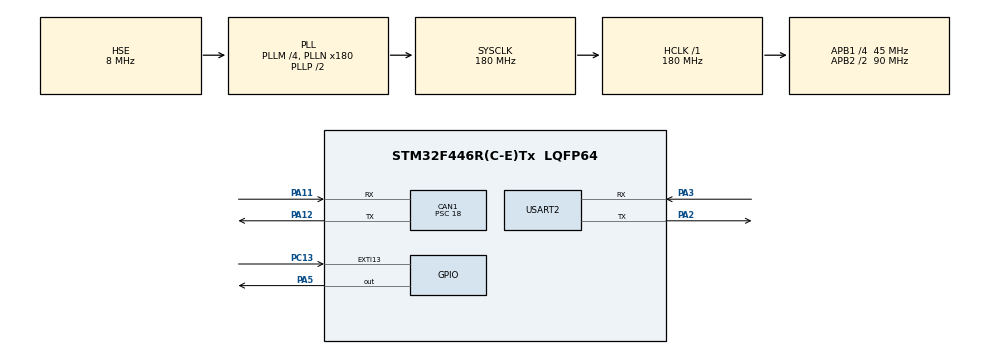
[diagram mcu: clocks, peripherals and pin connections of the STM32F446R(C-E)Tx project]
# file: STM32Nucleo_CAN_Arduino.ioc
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CAN1.BS1=CAN_BS1_2TQ
CAN1.BS2=CAN_BS2_2TQ
CAN1.CalculateBaudRate=500000
CAN1.CalculateTimeBit=2000
CAN1.CalculateTimeQuantum=400.0
CAN1.Prescaler=18
Mcu.Family=STM32F4
Mcu.Name=STM32F446R(C-E)Tx
Mcu.Package=LQFP64
NVIC.CAN1_RX0_IRQn=true\:0\:0\:false\:false\:true\:true\:true\:true
NVIC.CAN1_TX_IRQn=true\:0\:0\:false\:false\:true\:true\:true\:true
NVIC.EXTI15_10_IRQn=true\:0\:0\:false\:false\:true\:true\:true\:true
NVIC.PriorityGroup=NVIC_PRIORITYGROUP_4
PA11.Mode=CAN_Activate
PA11.Signal=CAN1_RX
PA12.Mode=CAN_Activate
PA12.Signal=CAN1_TX
PA2.Mode=Asynchronous
PA2.Signal=USART2_TX
PA3.Mode=Asynchronous
PA3.Signal=USART2_RX
PA5.Signal=GPIO_Output
PC13.Signal=GPXTI13
PH0-OSC_IN.Mode=HSE-External-Oscillator
PH0-OSC_IN.Signal=RCC_OSC_IN
PH1-OSC_OUT.Mode=HSE-External-Oscillator
PH1-OSC_OUT.Signal=RCC_OSC_OUT
ProjectManager.HeapSize=0x200
ProjectManager.StackSize=0x400
ProjectManager.TargetToolchain=STM32CubeIDE
RCC.AHBFreq_Value=180000000
RCC.APB1CLKDivider=RCC_HCLK_DIV4
RCC.APB1Freq_Value=45000000
RCC.APB1TimFreq_Value=90000000
RCC.APB2CLKDivider=RCC_HCLK_DIV2
RCC.APB2Freq_Value=90000000
RCC.APB2TimFreq_Value=180000000
RCC.CortexFreq_Value=180000000
RCC.HCLKFreq_Value=180000000
RCC.HSE_VALUE=8000000
RCC.PLLM=4
RCC.PLLN=180
RCC.PLLSourceVirtual=RCC_PLLSOURCE_HSE
RCC.SYSCLKFreq_VALUE=180000000
RCC.SYSCLKSource=RCC_SYSCLKSOURCE_PLLCLK
RCC.USBFreq_Value=180000000
RCC.VCOOutputFreq_Value=360000000
USART2.VirtualMode=VM_ASYNC
board=custom

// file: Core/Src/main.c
/* USER CODE BEGIN Header */
/**
  ******************************************************************************
  * @file           : main.c
  * @brief          : Main program body
  ******************************************************************************
  * @attention
  *
  * Copyright (c) 2026 STMicroelectronics.
  * All rights reserved.
  *
  * This software is licensed under terms that can be found in the LICENSE file
  * in the root directory of this software component.
  * If no LICENSE file comes with this software, it is provided AS-IS.
  *
  ******************************************************************************
  */
/* USER CODE END Header */
#include "main.h"

/* USER CODE BEGIN Includes */
#include <stdio.h>
#include <stdlib.h>
#include <string.h>
#include <time.h>
#include <stdbool.h>
/* USER CODE END Includes */

CAN_HandleTypeDef hcan1;

UART_HandleTypeDef huart2;

/* USER CODE BEGIN PV */
volatile bool canTxComplete = false;
/* USER CODE END PV */

void SystemClock_Config(void);
static void MX_GPIO_Init(void);
static void MX_CAN1_Init(void);
static void MX_USART2_UART_Init(void);
/* USER CODE BEGIN PFP */
uint8_t Get_RandomData();
/* USER CODE END PFP */

/* USER CODE BEGIN 0 */

//CAN variable setup
CAN_TxHeaderTypeDef TxHeader;
CAN_RxHeaderTypeDef RxHeader;

uint8_t TxData[8];
uint8_t RxData[8];

uint32_t TxMailbox;

uint8_t intMIN = 0;
uint8_t intMAX = 254;

/* USER CODE END 0 */

int main(void)
{

  /* USER CODE BEGIN 1 */
	srand(time(NULL));
  /* USER CODE END 1 */

  /* MCU Configuration--------------------------------------------------------*/

  /* Reset of all peripherals, Initializes the Flash interface and the Systick. */
  HAL_Init();

  /* Configure the system clock */
  SystemClock_Config();

  /* Initialize all configured peripherals */
  MX_GPIO_Init();
  MX_CAN1_Init();
  MX_USART2_UART_Init();
  /* USER CODE BEGIN 2 */

  if (HAL_CAN_Start(&hcan1) != HAL_OK){
	  Error_Handler();
  }

  //Enable CAN interrupts (Receivem, Transmit, Errors)
  HAL_CAN_ActivateNotification(&hcan1, CAN_IT_RX_FIFO0_MSG_PENDING | CAN_IT_TX_MAILBOX_EMPTY | CAN_IT_ERROR | CAN_IT_LAST_ERROR_CODE | CAN_IT_BUSOFF);

  //CAN Tx Data
  TxHeader.DLC = 8; //Data length
  TxHeader.IDE = CAN_ID_STD; //Standard length Identifier
  TxHeader.RTR = CAN_RTR_DATA;
  TxHeader.StdId = 0x446; //ID for the F446RE

  /* USER CODE END 2 */

  /* Infinite loop */
  while (1)
  {

    /* USER CODE BEGIN 3 */

	//Blink LED if flag is set
	if (canTxComplete){

		canTxComplete = false;

		HAL_GPIO_WritePin(GPIOA, GPIO_PIN_5, GPIO_PIN_SET);
		HAL_Delay(100);
		HAL_GPIO_WritePin(GPIOA, GPIO_PIN_5, GPIO_PIN_RESET);

	}

  }
  /* USER CODE END 3 */
}

void SystemClock_Config(void)
{
  RCC_OscInitTypeDef RCC_OscInitStruct = {0};
  RCC_ClkInitTypeDef RCC_ClkInitStruct = {0};

  /** Configure the main internal regulator output voltage
  */
  __HAL_RCC_PWR_CLK_ENABLE();
  __HAL_PWR_VOLTAGESCALING_CONFIG(PWR_REGULATOR_VOLTAGE_SCALE1);

  /** Initializes the RCC Oscillators according to the specified parameters
  * in the RCC_OscInitTypeDef structure.
  */
  RCC_OscInitStruct.OscillatorType = RCC_OSCILLATORTYPE_HSE;
  RCC_OscInitStruct.HSEState = RCC_HSE_ON;
  RCC_OscInitStruct.PLL.PLLState = RCC_PLL_ON;
  RCC_OscInitStruct.PLL.PLLSource = RCC_PLLSOURCE_HSE;
  RCC_OscInitStruct.PLL.PLLM = 4;
  RCC_OscInitStruct.PLL.PLLN = 180;
  RCC_OscInitStruct.PLL.PLLP = RCC_PLLP_DIV2;
  RCC_OscInitStruct.PLL.PLLQ = 2;
  RCC_OscInitStruct.PLL.PLLR = 2;
  if (HAL_RCC_OscConfig(&RCC_OscInitStruct) != HAL_OK)
  {
    Error_Handler();
  }

  /** Activate the Over-Drive mode
  */
  if (HAL_PWREx_EnableOverDrive() != HAL_OK)
  {
    Error_Handler();
  }

  /** Initializes the CPU, AHB and APB buses clocks
  */
  RCC_ClkInitStruct.ClockType = RCC_CLOCKTYPE_HCLK|RCC_CLOCKTYPE_SYSCLK
                              |RCC_CLOCKTYPE_PCLK1|RCC_CLOCKTYPE_PCLK2;
  RCC_ClkInitStruct.SYSCLKSource = RCC_SYSCLKSOURCE_PLLCLK;
  RCC_ClkInitStruct.AHBCLKDivider = RCC_SYSCLK_DIV1;
  RCC_ClkInitStruct.APB1CLKDivider = RCC_HCLK_DIV4;
  RCC_ClkInitStruct.APB2CLKDivider = RCC_HCLK_DIV2;

  if (HAL_RCC_ClockConfig(&RCC_ClkInitStruct, FLASH_LATENCY_5) != HAL_OK)
  {
    Error_Handler();
  }
}

static void MX_CAN1_Init(void)
{

  hcan1.Instance = CAN1;
  hcan1.Init.Prescaler = 18;
  hcan1.Init.Mode = CAN_MODE_NORMAL;
  hcan1.Init.SyncJumpWidth = CAN_SJW_1TQ;
  hcan1.Init.TimeSeg1 = CAN_BS1_2TQ;
  hcan1.Init.TimeSeg2 = CAN_BS2_2TQ;
  hcan1.Init.TimeTriggeredMode = DISABLE;
  hcan1.Init.AutoBusOff = DISABLE;
  hcan1.Init.AutoWakeUp = DISABLE;
  hcan1.Init.AutoRetransmission = DISABLE;
  hcan1.Init.ReceiveFifoLocked = DISABLE;
  hcan1.Init.TransmitFifoPriority = DISABLE;
  if (HAL_CAN_Init(&hcan1) != HAL_OK)
  {
    Error_Handler();
  }
  /* USER CODE BEGIN CAN1_Init 2 */

  //CAN Filter Config (Rx)
  CAN_FilterTypeDef canfilterconfig;

  canfilterconfig.FilterActivation = CAN_FILTER_ENABLE; //Activate Filter
  canfilterconfig.FilterBank = 10;  // anything between 0 to SlaveStartFilterBank
  canfilterconfig.FilterFIFOAssignment = CAN_RX_FIFO0; //Any CAN frame msg that passes filter is placed in this buffer
  canfilterconfig.FilterIdHigh = 0x101<<5; //Filter only the Uno Q ID (101)
  canfilterconfig.FilterIdLow = 0x0000;
  canfilterconfig.FilterMaskIdHigh = 0x7FF<<5; //11 Bits
  canfilterconfig.FilterMaskIdLow = 0x0000;
  canfilterconfig.FilterMode = CAN_FILTERMODE_IDMASK; //Set filter to check ID+Mask
  canfilterconfig.FilterScale = CAN_FILTERSCALE_32BIT;
  canfilterconfig.SlaveStartFilterBank = 20;  // 13 to 27 are assigned to slave CAN (CAN 2) OR 0 to 12 are assgned to CAN1

  HAL_CAN_ConfigFilter(&hcan1, &canfilterconfig);

  /* USER CODE END CAN1_Init 2 */

}

static void MX_USART2_UART_Init(void)
{

  huart2.Instance = USART2;
  huart2.Init.BaudRate = 115200;
  huart2.Init.WordLength = UART_WORDLENGTH_8B;
  huart2.Init.StopBits = UART_STOPBITS_1;
  huart2.Init.Parity = UART_PARITY_NONE;
  huart2.Init.Mode = UART_MODE_TX_RX;
  huart2.Init.HwFlowCtl = UART_HWCONTROL_NONE;
  huart2.Init.OverSampling = UART_OVERSAMPLING_16;
  if (HAL_UART_Init(&huart2) != HAL_OK)
  {
    Error_Handler();
  }

}

static void MX_GPIO_Init(void)
{
  GPIO_InitTypeDef GPIO_InitStruct = {0};

  /* GPIO Ports Clock Enable */
  __HAL_RCC_GPIOC_CLK_ENABLE();
  __HAL_RCC_GPIOH_CLK_ENABLE();
  __HAL_RCC_GPIOA_CLK_ENABLE();

  /*Configure GPIO pin Output Level */
  HAL_GPIO_WritePin(GPIOA, GPIO_PIN_5, GPIO_PIN_RESET);

  /*Configure GPIO pin : PC13 */
  GPIO_InitStruct.Pin = GPIO_PIN_13;
  GPIO_InitStruct.Mode = GPIO_MODE_IT_RISING;
  GPIO_InitStruct.Pull = GPIO_NOPULL;
  HAL_GPIO_Init(GPIOC, &GPIO_InitStruct);

  /*Configure GPIO pin : PA5 */
  GPIO_InitStruct.Pin = GPIO_PIN_5;
  GPIO_InitStruct.Mode = GPIO_MODE_OUTPUT_PP;
  GPIO_InitStruct.Pull = GPIO_NOPULL;
  GPIO_InitStruct.Speed = GPIO_SPEED_FREQ_LOW;
  HAL_GPIO_Init(GPIOA, &GPIO_InitStruct);

  /* EXTI interrupt init*/
  HAL_NVIC_SetPriority(EXTI15_10_IRQn, 0, 0);
  HAL_NVIC_EnableIRQ(EXTI15_10_IRQn);

}

/* USER CODE BEGIN 4 */

//an EXTI (User Button) press function for sending data to the Arduino via CAN
void HAL_GPIO_EXTI_Callback(uint16_t GPIO_Pin){

	if (GPIO_Pin == GPIO_PIN_13){

		HAL_StatusTypeDef canStatus;

		//CAN Data
		TxData[0] = Get_RandomData();
		TxData[1] = Get_RandomData();
		TxData[2] = Get_RandomData();
		TxData[3] = Get_RandomData();
		TxData[4] = Get_RandomData();
		TxData[5] = Get_RandomData();
		TxData[6] = Get_RandomData();
		TxData[7] = Get_RandomData();

		//UART
		char msg[100];

		canStatus = HAL_CAN_AddTxMessage(&hcan1, &TxHeader, TxData, &TxMailbox);

		if (canStatus == HAL_OK){

			//UART - Successful CAN Tx
			sprintf(msg, "[STM32]CAN QUEUED MSG ID=0x%03lX DLC=%lu DATA=%02X %02X %02X %02X %02X %02X %02X %02X Mailbox=%lu\r\n", TxHeader.StdId, TxHeader.DLC, TxData[0], TxData[1], TxData[2], TxData[3], TxData[4], TxData[5], TxData[6], TxData[7], TxMailbox);

		}
		else{

			//UART - Error
			sprintf(msg, "[STM32][ERROR] HAL Status=%d CAN Error=0x%08lX\r\n", canStatus, HAL_CAN_GetError(&hcan1));
		}

		HAL_UART_Transmit(&huart2,(uint8_t *)msg, strlen(msg), HAL_MAX_DELAY);

	}

}

//CAN RANDOM DATA - Get a random data byte
uint8_t Get_RandomData(){

	uint8_t randomint = intMIN + rand() % (intMAX + 1 - intMIN);

	return randomint;
}

//CAN RECEIVE - Callback for receiving messages
void HAL_CAN_RxFifo0MsgPendingCallback(CAN_HandleTypeDef *hcan)
{
  /* Prevent unused argument(s) compilation warning */
  UNUSED(hcan);

  /* NOTE : This function Should not be modified, when the callback is needed,
            the HAL_CAN_RxFifo0MsgPendingCallback could be implemented in the
            user file
   */
  char msg[150];

  if (HAL_CAN_GetRxMessage(&hcan1, CAN_RX_FIFO0, &RxHeader, RxData) == HAL_OK){

	  sprintf(msg, "[UNOQ][CAN RX] ID=0x%03lX DLC=%lu DATA=%02X %02X\r\n", RxHeader.StdId, RxHeader.DLC, RxData[0], RxData[1]);

  }
  else{

	  sprintf(msg, "[STM32][ERROR] Rx Error=0x%08lX\r\n", HAL_CAN_GetError(&hcan1));
  }

  HAL_UART_Transmit(&huart2, (uint8_t *)msg, strlen(msg), HAL_MAX_DELAY);
}

//CAN MAILBOXES - CHECKING FOR MESSAGES SENT FROM STM32
void HAL_CAN_TxMailbox0CompleteCallback(CAN_HandleTypeDef *hcan)
{
  /* Prevent unused argument(s) compilation warning */
  UNUSED(hcan);

  /* NOTE : This function Should not be modified, when the callback is needed,
            the HAL_CAN_TxMailbox0CompleteCallback could be implemented in the
            user file
   */
  	  //Set flag to true for LED
  	  canTxComplete = true;

  	  char msg[] = "[STM32][CAN TX COMPLETE] Mailbox 0\r\n";

      HAL_UART_Transmit(&huart2, (uint8_t *)msg, strlen(msg), HAL_MAX_DELAY);
}

void HAL_CAN_TxMailbox1CompleteCallback(CAN_HandleTypeDef *hcan)
{
  /* Prevent unused argument(s) compilation warning */
  UNUSED(hcan);

  /* NOTE : This function Should not be modified, when the callback is needed,
            the HAL_CAN_TxMailbox0CompleteCallback could be implemented in the
            user file
   */
  	 //Set flag to true for LED
   	 canTxComplete = true;

  	 char msg[] = "[STM32][CAN TX COMPLETE] Mailbox 1\r\n";

     HAL_UART_Transmit(&huart2, (uint8_t *)msg, strlen(msg), HAL_MAX_DELAY);
}

void HAL_CAN_TxMailbox2CompleteCallback(CAN_HandleTypeDef *hcan)
{
  /* Prevent unused argument(s) compilation warning */
  UNUSED(hcan);

  /* NOTE : This function Should not be modified, when the callback is needed,
            the HAL_CAN_TxMailbox0CompleteCallback could be implemented in the
            user file
   */
  	 //Set flag to true for LED
   	 canTxComplete = true;

  	 char msg[] = "[STM32][CAN TX COMPLETE] Mailbox 2\r\n";

  	 HAL_UART_Transmit(&huart2, (uint8_t *)msg, strlen(msg), HAL_MAX_DELAY);
}

//HANDLE CAN ERRORS
void HAL_CAN_ErrorCallback(CAN_HandleTypeDef *hcan)
{
  /* Prevent unused argument(s) compilation warning */
  UNUSED(hcan);

  /* NOTE : This function Should not be modified, when the callback is needed,
            the HAL_CAN_ErrorCallback could be implemented in the user file
   */
  uint32_t error = HAL_CAN_GetError(hcan);

  char msg[100];

  sprintf(msg, "[STM32][ERROR] HAL error = 0x%08lX\r\n", error);

  HAL_UART_Transmit(&huart2, (uint8_t *)msg, strlen(msg),HAL_MAX_DELAY);

}

/* USER CODE END 4 */

void Error_Handler(void)
{
  __disable_irq();
  while (1)
  {
  }
}
